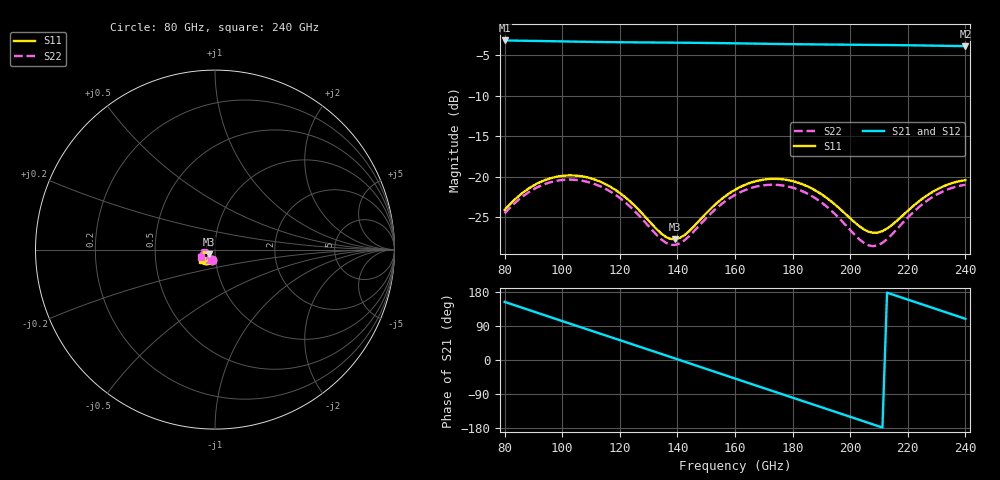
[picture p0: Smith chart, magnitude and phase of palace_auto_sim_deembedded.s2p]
! Created with skrf 1.11.0 (http://scikit-rf.org).
# GHz S DB R 50.0
!freq dBS11 angS11 dBS21 angS21 dBS12 angS12 dBS22 angS22
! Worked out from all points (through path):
!   101 points, 80 GHz to 240 GHz, reference 50 ohm
!   highest |S21| = -3.17 dB at 80 GHz (marker M1); lowest = -3.9 dB at 240 GHz (marker M2)
!   group delay of S21, straight-line fit = 7.02 ps
!   lowest |S11| = -27.7 dB at 139.2 GHz (marker M3), VSWR 1.09, Z = 46.9 - j2.45 ohm
!   |S11| at or under -10 dB: start of sweep to end of sweep
!   |S22| runs from -28.6 to -20.4 dB; largest |S21 - S12| = 1.2e-13
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80  -24.12 -104.8  -3.17 153.4  -3.17 153.4  -24.55 -107.8
88  -21.55 -111.1  -3.22 133.1  -3.22 133.1  -22.01 -114.9
94.4  -20.38 -120.8  -3.25 116.9  -3.25 116.9  -20.86 -125.2
100.8  -19.88 -131.8  -3.30 100.7  -3.30 100.7  -20.39 -136.8
107.2  -19.98 -142.9  -3.33 84.6  -3.33 84.6  -20.53 -148.4
120  -22.02 -161.5  -3.39 52.4  -3.39 52.4  -22.64 -167.9
128  -24.64 -165.0  -3.42 32.2  -3.42 32.2  -25.32 -171.9
134.4  -27.03 -156.0  -3.43 16.1  -3.43 16.1  -27.76 -162.9
139.2  -27.75 -140.5  -3.45 3.9  -3.45 3.9  -28.44 -147.4
148.8  -24.98 -119.6  -3.48 -20.4  -3.48 -20.4  -25.58 -127.4
160  -21.63 -124.9  -3.53 -48.9  -3.53 -48.9  -22.26 -134.1
168  -20.50 -135.5  -3.57 -69.1  -3.57 -69.1  -21.18 -145.6
174.4  -20.27 -144.9  -3.60 -85.3  -3.60 -85.3  -21.02 -155.7
180.8  -20.63 -154.1  -3.63 -101.4  -3.63 -101.4  -21.45 -165.6
187.2  -21.57 -161.8  -3.66 -117.6  -3.66 -117.6  -22.51 -174.1
196.8  -24.10 -166.6  -3.69 -141.8  -3.69 -141.8  -25.38 -179.4
206.4  -26.81 -152.0  -3.72 -166.1  -3.72 -166.1  -28.49 -161.6
209.6  -26.92 -142.8  -3.73 -174.2  -3.73 -174.2  -28.49 -150.4
214.4  -26.00 -131.0  -3.75 173.6  -3.75 173.6  -27.18 -137.5
225.6  -22.59 -126.0  -3.80 145.2  -3.80 145.2  -23.26 -134.6
233.6  -21.02 -133.4  -3.84 125.0  -3.84 125.0  -21.61 -143.5
240  -20.44 -141.5  -3.88 108.8  -3.88 108.8  -21.01 -152.5
